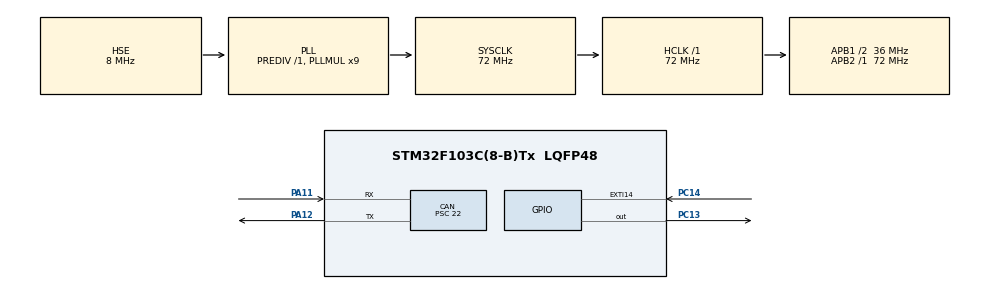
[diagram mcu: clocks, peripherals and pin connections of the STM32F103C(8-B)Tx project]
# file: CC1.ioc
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CAN.BS1=CAN_BS1_2TQ
CAN.BS2=CAN_BS2_2TQ
CAN.CalculateBaudRate=327272
CAN.CalculateTimeBit=3055
CAN.CalculateTimeQuantum=611.1111111111111
CAN.Prescaler=22
Mcu.Family=STM32F1
Mcu.Name=STM32F103C(8-B)Tx
Mcu.Package=LQFP48
NVIC.EXTI15_10_IRQn=true\:0\:0\:false\:false\:true\:true\:true\:true
NVIC.PriorityGroup=NVIC_PRIORITYGROUP_4
NVIC.USB_LP_CAN1_RX0_IRQn=true\:0\:0\:false\:false\:true\:true\:true\:true
PA11.Mode=CAN_Activate
PA11.Signal=CAN_RX
PA12.Mode=CAN_Activate
PA12.Signal=CAN_TX
PA13.Mode=Serial_Wire
PA13.Signal=SYS_JTMS-SWDIO
PA14.Mode=Serial_Wire
PA14.Signal=SYS_JTCK-SWCLK
PC13-TAMPER-RTC.Signal=GPIO_Output
PC14-OSC32_IN.Signal=GPXTI14
PD0-OSC_IN.Mode=HSE-External-Oscillator
PD0-OSC_IN.Signal=RCC_OSC_IN
PD1-OSC_OUT.Mode=HSE-External-Oscillator
PD1-OSC_OUT.Signal=RCC_OSC_OUT
ProjectManager.HeapSize=0x200
ProjectManager.StackSize=0x400
ProjectManager.TargetToolchain=STM32CubeIDE
RCC.AHBFreq_Value=72000000
RCC.APB1CLKDivider=RCC_HCLK_DIV2
RCC.APB1Freq_Value=36000000
RCC.APB1TimFreq_Value=72000000
RCC.APB2Freq_Value=72000000
RCC.APB2TimFreq_Value=72000000
RCC.HCLKFreq_Value=72000000
RCC.PLLMUL=RCC_PLL_MUL9
RCC.PLLSourceVirtual=RCC_PLLSOURCE_HSE
RCC.SYSCLKFreq_VALUE=72000000
RCC.SYSCLKSource=RCC_SYSCLKSOURCE_PLLCLK
RCC.USBFreq_Value=72000000
board=custom

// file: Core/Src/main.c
/* USER CODE BEGIN Header */
/**
  ******************************************************************************
  * @file           : main.c
  * @brief          : Main program body
  ******************************************************************************
  * @attention
  *
  * Copyright (c) 2023 STMicroelectronics.
  * All rights reserved.
  *
  * This software is licensed under terms that can be found in the LICENSE file
  * in the root directory of this software component.
  * If no LICENSE file comes with this software, it is provided AS-IS.
  *
  ******************************************************************************
  */
/* USER CODE END Header */
#include "main.h"

CAN_HandleTypeDef hcan;

/* USER CODE BEGIN PV */
int count = 1;
/* USER CODE END PV */

void SystemClock_Config(void);
static void MX_GPIO_Init(void);
static void MX_CAN_Init(void);

/* USER CODE BEGIN 0 */

CAN_TxHeaderTypeDef Txheader1;
CAN_TxHeaderTypeDef Txheader2;
CAN_RxHeaderTypeDef Rxheader;
CAN_FilterTypeDef canfilterconfig;

uint8_t txdata1[8];
uint8_t txdata2[8];
uint8_t rxdata[8];
uint32_t mailbox;
int datacheck = 1;

uint8_t RxBuffer[20];//coming from cs
CAN_TxHeaderTypeDef baseHeader;
CAN_TxHeaderTypeDef shoulderHeader;
CAN_TxHeaderTypeDef elbowHeader;
CAN_TxHeaderTypeDef pitchHeader;
CAN_TxHeaderTypeDef rollHeader;
CAN_TxHeaderTypeDef endeHeader;
CAN_RxHeaderTypeDef Rxheader;

uint32_t mailbox1;

uint8_t basetx[8],
		shouldertx[8],
		elbowtx[8],
		pitchtx[8],
		rolltx[8],
		endtx[8];

// void HAL_GPIO_EXTI_Callback(uint16_t GPIO_Pin)
// {
//	 if(GPIO_Pin == GPIO_PIN_14)
//	 {
//
//
//
//
//		 		count++;
//
//	 }
// }

 void HAL_CAN_RxFifo0MsgPendingCallback(CAN_HandleTypeDef *hcan)
 {
	 HAL_CAN_GetRxMessage(hcan, CAN_RX_FIFO0, &Rxheader, rxdata);
	 if(Rxheader.DLC == 2){
		 datacheck = 100;
	 }

 }
/* USER CODE END 0 */

int main(void)
{

  /* MCU Configuration--------------------------------------------------------*/

  /* Reset of all peripherals, Initializes the Flash interface and the Systick. */
  HAL_Init();

  /* Configure the system clock */
  SystemClock_Config();

  /* Initialize all configured peripherals */
  MX_GPIO_Init();
  MX_CAN_Init();
  /* USER CODE BEGIN 2 */
  HAL_CAN_Start(&hcan);

  HAL_CAN_ActivateNotification(&hcan, CAN_IT_RX_FIFO0_MSG_PENDING);
  HAL_CAN_ConfigFilter(&hcan, &canfilterconfig);
  Txheader1.DLC = Txheader2.DLC = 2;
  Txheader1.IDE = Txheader2.IDE = CAN_ID_STD;
  Txheader1.RTR = Txheader2.RTR = CAN_RTR_DATA;
  Txheader1.StdId=  0x446; //semder id
  Txheader2.StdId = 0x441;//BASE

  baseHeader.DLC = elbowHeader.DLC =
  shoulderHeader.DLC = pitchHeader.DLC =
  rollHeader.DLC = endeHeader.DLC =2;

  baseHeader.IDE = elbowHeader.IDE=
  shoulderHeader.IDE = pitchHeader.IDE =
  rollHeader.IDE= endeHeader.IDE = CAN_ID_STD;

  baseHeader.RTR = elbowHeader.RTR=
  shoulderHeader.RTR = pitchHeader.RTR =
  rollHeader.RTR= endeHeader.RTR = CAN_RTR_DATA;

  baseHeader.StdId = 0x001;
  elbowHeader.StdId = 0x002;
  shoulderHeader.StdId = 0x004;
  pitchHeader.StdId = 0x003;
  rollHeader.StdId = 0x005;
  endeHeader.StdId = 0x006;

  basetx[0] = 40;
  basetx[1] = 1;
  pitchtx[0] = 150;
  pitchtx[1] = 1;

  /* USER CODE END 2 */

  /* Infinite loop */
  /* USER CODE BEGIN WHILE */
  while (1)
  {

//	 		 		 HAL_CAN_AddTxMessage(&hcan, &Txheader1, txdata1, &mailbox);
//	 		 		 HAL_CAN_AddTxMessage(&hcan, &Txheader2, txdata2, &mailbox);
	 		 		 HAL_CAN_AddTxMessage(&hcan, &baseHeader, basetx, &mailbox);
//	 		 		 HAL_CAN_AddTxMessage(&hcan, &pitchHeader, pitchtx, &mailbox);

	 		 		 txdata1[0]++;

	 //		 txdata[0] = 100;
	 //		 txdata[1] = 2;
	 //
	 //		 HAL_CAN_AddTxMessage(&hcan, &Txheader, txdata, &mailbox);

    /* USER CODE END WHILE */

  }
}

void SystemClock_Config(void)
{
  RCC_OscInitTypeDef RCC_OscInitStruct = {0};
  RCC_ClkInitTypeDef RCC_ClkInitStruct = {0};

  /** Initializes the RCC Oscillators according to the specified parameters
  * in the RCC_OscInitTypeDef structure.
  */
  RCC_OscInitStruct.OscillatorType = RCC_OSCILLATORTYPE_HSE;
  RCC_OscInitStruct.HSEState = RCC_HSE_ON;
  RCC_OscInitStruct.HSEPredivValue = RCC_HSE_PREDIV_DIV1;
  RCC_OscInitStruct.HSIState = RCC_HSI_ON;
  RCC_OscInitStruct.PLL.PLLState = RCC_PLL_ON;
  RCC_OscInitStruct.PLL.PLLSource = RCC_PLLSOURCE_HSE;
  RCC_OscInitStruct.PLL.PLLMUL = RCC_PLL_MUL9;
  if (HAL_RCC_OscConfig(&RCC_OscInitStruct) != HAL_OK)
  {
    Error_Handler();
  }

  /** Initializes the CPU, AHB and APB buses clocks
  */
  RCC_ClkInitStruct.ClockType = RCC_CLOCKTYPE_HCLK|RCC_CLOCKTYPE_SYSCLK
                              |RCC_CLOCKTYPE_PCLK1|RCC_CLOCKTYPE_PCLK2;
  RCC_ClkInitStruct.SYSCLKSource = RCC_SYSCLKSOURCE_PLLCLK;
  RCC_ClkInitStruct.AHBCLKDivider = RCC_SYSCLK_DIV1;
  RCC_ClkInitStruct.APB1CLKDivider = RCC_HCLK_DIV2;
  RCC_ClkInitStruct.APB2CLKDivider = RCC_HCLK_DIV1;

  if (HAL_RCC_ClockConfig(&RCC_ClkInitStruct, FLASH_LATENCY_2) != HAL_OK)
  {
    Error_Handler();
  }
}

static void MX_CAN_Init(void)
{

  hcan.Instance = CAN1;
  hcan.Init.Prescaler = 22;
  hcan.Init.Mode = CAN_MODE_NORMAL;
  hcan.Init.SyncJumpWidth = CAN_SJW_1TQ;
  hcan.Init.TimeSeg1 = CAN_BS1_2TQ;
  hcan.Init.TimeSeg2 = CAN_BS2_2TQ;
  hcan.Init.TimeTriggeredMode = DISABLE;
  hcan.Init.AutoBusOff = DISABLE;
  hcan.Init.AutoWakeUp = DISABLE;
  hcan.Init.AutoRetransmission = DISABLE;
  hcan.Init.ReceiveFifoLocked = DISABLE;
  hcan.Init.TransmitFifoPriority = DISABLE;
  if (HAL_CAN_Init(&hcan) != HAL_OK)
  {
    Error_Handler();
  }
  /* USER CODE BEGIN CAN_Init 2 */

  canfilterconfig. FilterActivation = CAN_FILTER_ENABLE;
  canfilterconfig. FilterBank = 18; // which filter bank to use from the assigned ones
  canfilterconfig.FilterFIFOAssignment = CAN_FILTER_FIFO0;
  canfilterconfig. FilterIdHigh = 0x103<<5;
  canfilterconfig.FilterIdLow = 0;
  canfilterconfig.FilterMaskIdHigh = 0x103<<5;
  canfilterconfig. FilterMaskIdLow = 0x0000;
  canfilterconfig.FilterMode = CAN_FILTERMODE_IDMASK;
  canfilterconfig.FilterScale = CAN_FILTERSCALE_32BIT;
  canfilterconfig.SlaveStartFilterBank =  10; // how many filters to assign to the CAN1 (master can)
  /* USER CODE END CAN_Init 2 */

}

static void MX_GPIO_Init(void)
{
  GPIO_InitTypeDef GPIO_InitStruct = {0};

  /* GPIO Ports Clock Enable */
  __HAL_RCC_GPIOC_CLK_ENABLE();
  __HAL_RCC_GPIOD_CLK_ENABLE();
  __HAL_RCC_GPIOA_CLK_ENABLE();

  /*Configure GPIO pin Output Level */
  HAL_GPIO_WritePin(GPIOC, GPIO_PIN_13, GPIO_PIN_RESET);

  /*Configure GPIO pin : PC13 */
  GPIO_InitStruct.Pin = GPIO_PIN_13;
  GPIO_InitStruct.Mode = GPIO_MODE_OUTPUT_PP;
  GPIO_InitStruct.Pull = GPIO_NOPULL;
  GPIO_InitStruct.Speed = GPIO_SPEED_FREQ_LOW;
  HAL_GPIO_Init(GPIOC, &GPIO_InitStruct);

  /*Configure GPIO pin : PC14 */
  GPIO_InitStruct.Pin = GPIO_PIN_14;
  GPIO_InitStruct.Mode = GPIO_MODE_IT_RISING;
  GPIO_InitStruct.Pull = GPIO_NOPULL;
  HAL_GPIO_Init(GPIOC, &GPIO_InitStruct);

  /* EXTI interrupt init*/
  HAL_NVIC_SetPriority(EXTI15_10_IRQn, 0, 0);
  HAL_NVIC_EnableIRQ(EXTI15_10_IRQn);

}

void Error_Handler(void)
{
  __disable_irq();
  while (1)
  {
  }
}
